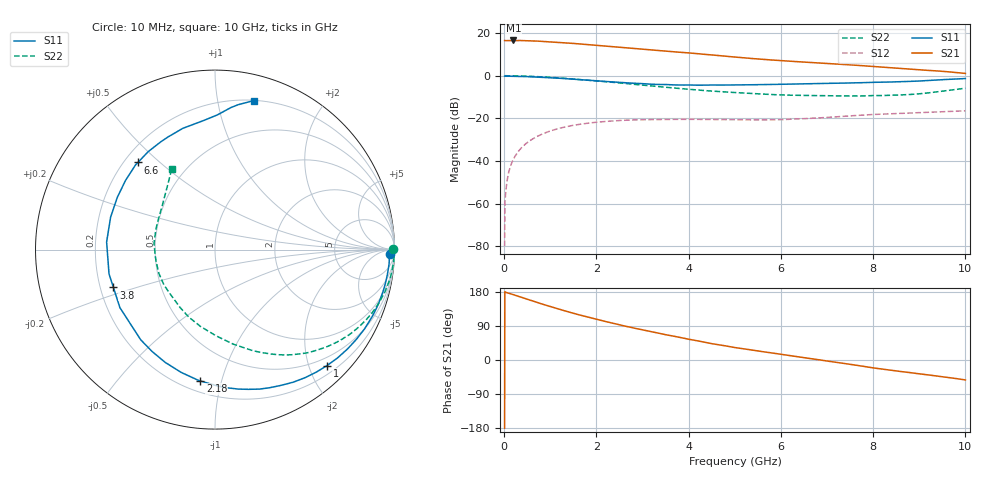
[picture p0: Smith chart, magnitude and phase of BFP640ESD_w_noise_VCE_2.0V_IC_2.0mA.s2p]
! Infineon Technologies  Discrete & RF Semiconductors
! BFP640ESD
! VCE =  2.0 V,  IC =  2.0 mA
! Common Emitter S-Parameters:  Jan 2016
# GHz  S  MA  R  50
!  f  S11  S21  S12  S22
! GHz  MAG  ANG  MAG  ANG  MAG  ANG  MAG  ANG
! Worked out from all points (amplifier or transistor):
!   233 points, 10 MHz to 10 GHz, reference 50 ohm
!   highest |S21| = 16.5 dB at 200 MHz (marker M1)
!   |S21| within 3 dB of that: start of sweep to 2.413 GHz
!   unconditionally stable (mu >= 1): 5.25 GHz to 9.249 GHz
!   at 200 MHz: K = 0.02, MSG = 27.9 dB, |S12| = -39.3 dB
!   at 1.74 GHz: K = 0.25, MSG = 18.6 dB, |S12| = -22.5 dB
!   at 10 GHz: K = 0.75, MSG = 8.8 dB, |S12| = -16.5 dB
!   lowest NFmin = 0.58 dB at 450 MHz
!   S11 on the Smith chart (normalised r, x): 10 MHz: 44, -41; 1 GHz: 0.35, -2.31; 2.18 GHz: 0.27, -0.86; 3.8 GHz: 0.25, -0.17; 6.6 GHz: 0.25, +0.43; 10 GHz: 0.20, +1.27
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0.01  0.9761 -1.3  6.69 -180.0  0.0001 -101.9  0.9932 0.2
0.015  0.9735 -1.3  6.669 180.0  0.0006 91.4  0.9966 -0.1
0.02  0.9709 -1.2  6.649 179.9  0.0012 90.3  1 -0.4
0.03  0.9715 -1.6  6.651 179.2  0.0017 91.0  0.9995 -0.8
0.1  0.9732 -4.7  6.703 176.3  0.0055 87.0  0.998 -2.8
0.2  0.9699 -9.3  6.715 172.3  0.0109 84.0  0.9952 -5.6
0.5  0.9518 -23.1  6.628 160.3  0.0269 75.2  0.9757 -14.1
0.72  0.9306 -33.3  6.49 151.6  0.0378 68.6  0.9523 -19.9
1  0.8983 -46.0  6.242 141.1  0.0504 60.8  0.9156 -27.3
1.3  0.8579 -59.4  5.94 130.2  0.062 52.9  0.8699 -34.7
1.68  0.8034 -75.6  5.524 117.4  0.0735 43.9  0.8079 -43.3
2.18  0.7363 -96.3  4.985 102.1  0.0841 33.9  0.7274 -53.6
2.8  0.6668 -121.8  4.375 84.6  0.0918 23.3  0.6279 -65.9
3.4  0.6211 -144.7  3.853 69.5  0.094 15.7  0.5477 -77.1
3.8  0.6041 -159.6  3.554 59.9  0.0946 12.0  0.5015 -84.8
4.5  0.6053 176.0  3.077 43.1  0.094 6.5  0.436 -100.6
5.1  0.6089 160.6  2.681 31.2  0.0922 4.7  0.3972 -113.1
6.6  0.6482 131.5  2.058 4.4  0.0993 5.7  0.3438 -147.3
6.8  0.6531 127.9  1.995 1.0  0.1021 5.7  0.3406 -151.9
7.8  0.6876 108.8  1.706 -16.9  0.1194 2.2  0.3361 -179.8
8.4  0.7125 97.9  1.525 -27.2  0.1282 -1.8  0.3475 161.5
10  0.8571 75.5  1.131 -52.6  0.15 -12.9  0.509 118.3
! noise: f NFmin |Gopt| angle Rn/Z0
0.45  0.58  0.67  11  0.24
0.9  0.61  0.63  24  0.22
1.9  0.75  0.52  52  0.19
2.4  0.85  0.47  72  0.17
5.5  1.42  0.4  -153  0.18
10  3.03  0.7  -84  1.7
